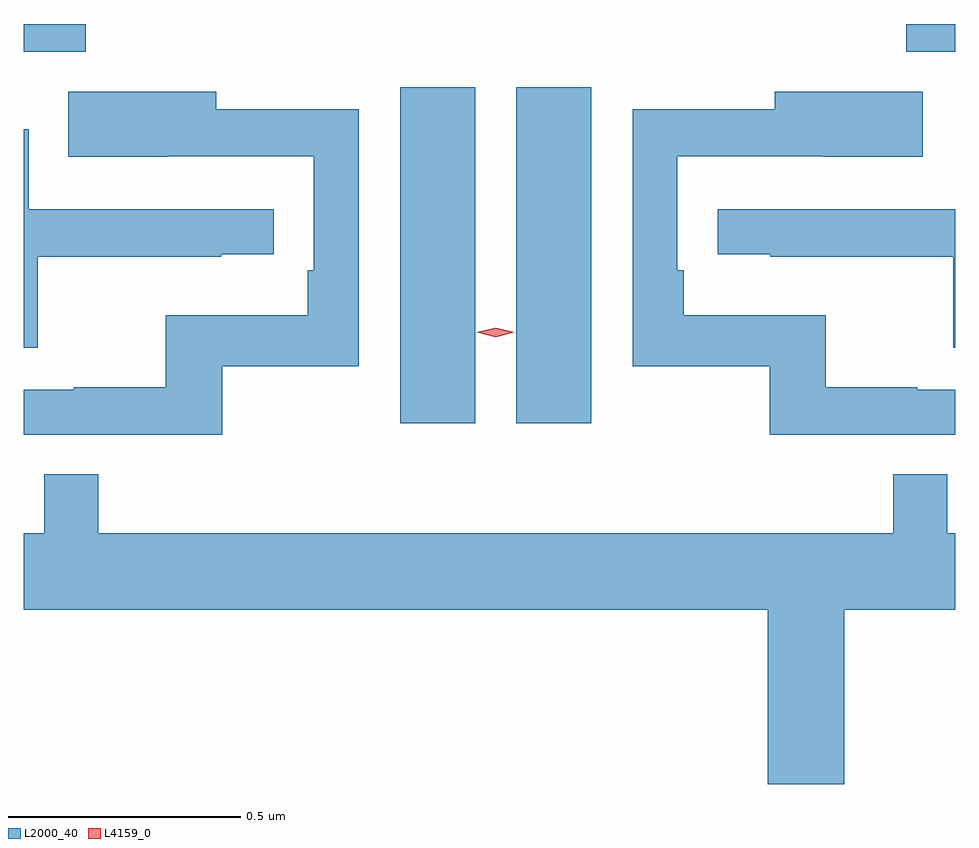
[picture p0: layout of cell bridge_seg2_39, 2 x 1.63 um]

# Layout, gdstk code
import gdstk
lib = gdstk.Library(unit=1e-6, precision=1e-09)
def R(c, l, rs):  # rectangles x0, y0, x1, y1
    for r in rs: c.add(gdstk.rectangle(r[:2], r[2:], *l))
def P(c, l, *ps):  # polygons
    for p in ps: c.add(gdstk.Polygon(p, *l))
L2000_40 = (2000, 40)
L4159_0 = (4159, 0)

bridge_seg2_39 = lib.new_cell('bridge_seg2_39')
R(bridge_seg2_39, L2000_40, [(895.487,645.372,895.648,646.093), (895.736,645.372,895.897,646.093), (894.679,646.169,894.812,646.229), (896.573,646.169,896.679,646.229)])
P(bridge_seg2_39, L2000_40, [(896.679,645.444),(896.597,645.444),(896.597,645.449),(896.401,645.449),(896.401,645.604),(896.096,645.604),(896.096,645.7),(896.082,645.7),(896.082,645.945),(896.395,645.945),(896.395,645.944),(896.609,645.944),(896.609,646.084),(896.291,646.084),(896.291,646.046),(895.986,646.046),(895.986,645.495),(896.28,645.495),(896.28,645.348),(896.679,645.348)],
  [(895.105,645.495),(895.398,645.495),(895.398,646.046),(895.093,646.046),(895.093,646.084),(894.775,646.084),(894.775,645.944),(894.989,645.944),(894.989,645.945),(895.302,645.945),(895.302,645.7),(895.289,645.7),(895.289,645.604),(894.984,645.604),(894.984,645.449),(894.787,645.449),(894.787,645.444),(894.679,645.444),(894.679,645.348),(895.105,645.348)],
  [(894.71,645.73),(895.103,645.73),(895.103,645.735),(895.216,645.735),(895.216,645.831),(894.69,645.831),(894.69,646.003),(894.679,646.003),(894.679,645.534),(894.71,645.534)],
  [(896.679,645.831),(896.169,645.831),(896.169,645.735),(896.281,645.735),(896.281,645.73),(896.674,645.73),(896.674,645.534),(896.679,645.534)],
  [(896.44,644.972),(896.679,644.972),(896.679,645.136),(896.661,645.136),(896.661,645.263),(896.545,645.263),(896.545,645.136),(894.839,645.136),(894.839,645.263),(894.723,645.263),(894.723,645.136),(894.679,645.136),(894.679,644.972),(896.276,644.972),(896.276,644.598),(896.44,644.598)])
P(bridge_seg2_39, L4159_0, [(895.692,645.557),(895.652,645.567),(895.652,645.567),(895.652,645.567),(895.692,645.577),(895.732,645.567),(895.732,645.567),(895.732,645.567)])

lib.write_gds('bridge_seg2_39.gds')
